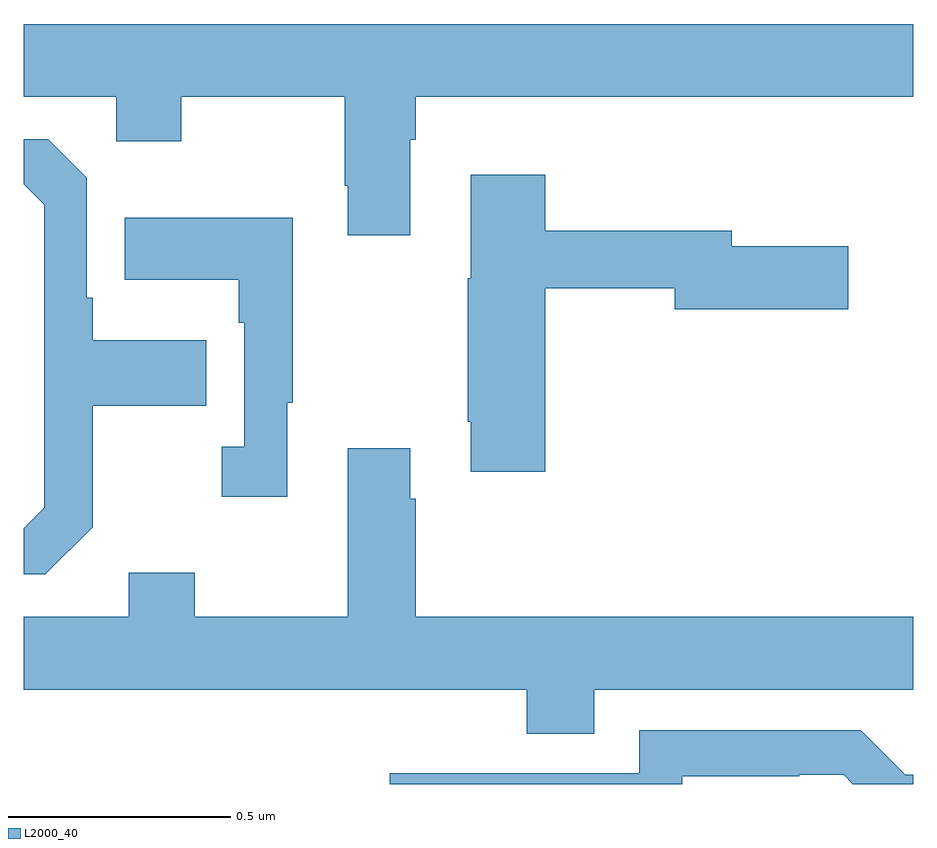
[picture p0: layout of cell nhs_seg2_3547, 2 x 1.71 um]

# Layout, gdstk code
import gdstk
lib = gdstk.Library(unit=1e-6, precision=1e-09)
def P(c, l, *ps):  # polygons
    for p in ps: c.add(gdstk.Polygon(p, *l))
L2000_40 = (2000, 40)

nhs_seg2_3547 = lib.new_cell('nhs_seg2_3547')
P(nhs_seg2_3547, L2000_40, [(155.869,606.248),(155.882,606.248),(155.882,606.344),(157,606.344),(157,606.508),(155,606.508),(155,606.344),(155.208,606.344),(155.208,606.245),(155.355,606.245),(155.355,606.344),(155.722,606.344),(155.722,606.145),(155.729,606.145),(155.729,606.033),(155.869,606.033)],
  [(155.155,605.377),(155.155,605.65),(155.411,605.65),(155.411,605.797),(155.155,605.797),(155.155,605.893),(155.142,605.893),(155.142,606.162),(155.055,606.249),(155,606.249),(155,606.148),(155.046,606.102),(155.046,605.421),(155,605.375),(155,605.271),(155.049,605.271)],
  [(156.173,605.914),(156.464,605.914),(156.464,605.867),(156.853,605.867),(156.853,606.009),(156.592,606.009),(156.592,606.043),(156.173,606.043),(156.173,606.169),(156.005,606.169),(156.005,605.937),(155.998,605.937),(155.998,605.614),(156.005,605.614),(156.005,605.502),(156.173,605.502)],
  [(155.593,605.657),(155.605,605.657),(155.605,606.073),(155.227,606.073),(155.227,605.933),(155.484,605.933),(155.484,605.837),(155.496,605.837),(155.496,605.558),(155.445,605.558),(155.445,605.445),(155.593,605.445)],
  [(156.283,605.012),(157,605.012),(157,605.176),(155.882,605.176),(155.882,605.441),(155.869,605.441),(155.869,605.554),(155.729,605.554),(155.729,605.176),(155.385,605.176),(155.385,605.275),(155.237,605.275),(155.237,605.176),(155,605.176),(155,605.012),(156.131,605.012),(156.131,604.913),(156.283,604.913)],
  [(156.48,604.817),(156.743,604.817),(156.743,604.821),(156.843,604.821),(156.864,604.8),(157,604.8),(157,604.821),(156.981,604.821),(156.881,604.921),(156.384,604.921),(156.384,604.824),(155.823,604.824),(155.823,604.8),(156.48,604.8)])

lib.write_gds('nhs_seg2_3547.gds')
